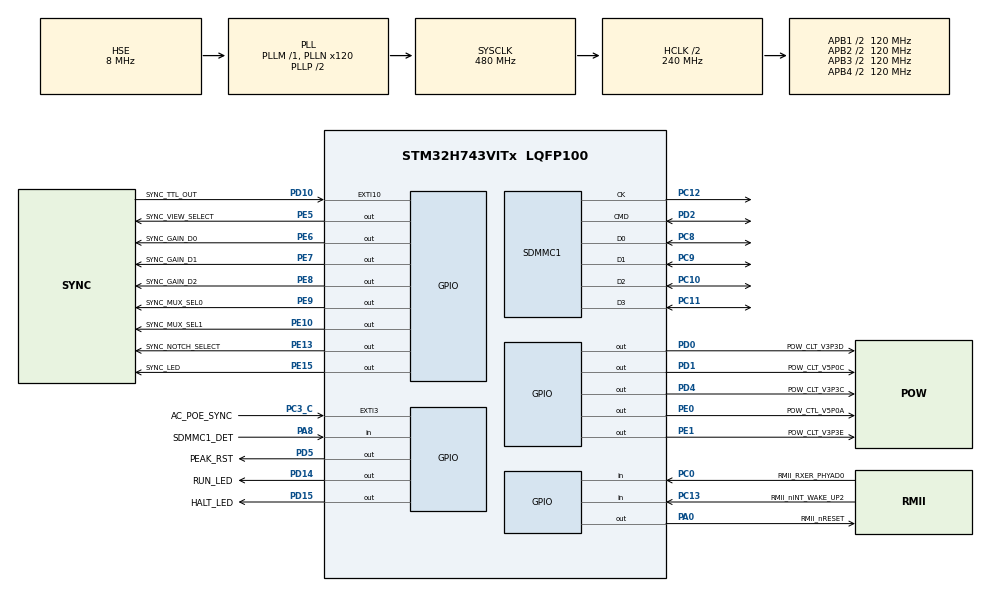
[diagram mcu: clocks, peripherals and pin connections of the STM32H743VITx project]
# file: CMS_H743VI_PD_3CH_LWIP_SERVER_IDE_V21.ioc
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CORTEX_M7.AccessPermission-Cortex_Memory_Protection_Unit_Region0_Settings=MPU_REGION_NO_ACCESS
CORTEX_M7.AccessPermission-Cortex_Memory_Protection_Unit_Region1_Settings=MPU_REGION_FULL_ACCESS
CORTEX_M7.AccessPermission-Cortex_Memory_Protection_Unit_Region2_Settings=MPU_REGION_FULL_ACCESS
CORTEX_M7.AccessPermission_S-Cortex_Memory_Protection_Unit_Region1_Settings_S=MPU_REGION_FULL_ACCESS
CORTEX_M7.AccessPermission_S-Cortex_Memory_Protection_Unit_Region2_Settings_S=MPU_REGION_FULL_ACCESS
CORTEX_M7.AccessPermission_S-Cortex_Memory_Protection_Unit_Region3_Settings_S=MPU_REGION_FULL_ACCESS
CORTEX_M7.AccessPermission_S-Cortex_Memory_Protection_Unit_Region4_Settings_S=MPU_REGION_FULL_ACCESS
CORTEX_M7.AccessPermission_S-Cortex_Memory_Protection_Unit_Region5_Settings_S=MPU_REGION_FULL_ACCESS
CORTEX_M7.BaseAddress-Cortex_Memory_Protection_Unit_Region0_Settings=0x0
CORTEX_M7.BaseAddress-Cortex_Memory_Protection_Unit_Region1_Settings=0x30020000
CORTEX_M7.BaseAddress-Cortex_Memory_Protection_Unit_Region2_Settings=0x30040000
CORTEX_M7.BaseAddress_S-Cortex_Memory_Protection_Unit_Region1_Settings_S=0x30000000
CORTEX_M7.BaseAddress_S-Cortex_Memory_Protection_Unit_Region2_Settings_S=0x30020000
CORTEX_M7.BaseAddress_S-Cortex_Memory_Protection_Unit_Region3_Settings_S=0x30040000
CORTEX_M7.BaseAddress_S-Cortex_Memory_Protection_Unit_Region4_Settings_S=0x38000000
CORTEX_M7.BaseAddress_S-Cortex_Memory_Protection_Unit_Region5_Settings_S=0x24000000
CORTEX_M7.BaseAddress_Spec=0x00000000
CORTEX_M7.CPU_DCache=Enabled
CORTEX_M7.CPU_ICache=Enabled
CORTEX_M7.DisableExec-Cortex_Memory_Protection_Unit_Region0_Settings=MPU_INSTRUCTION_ACCESS_DISABLE
CORTEX_M7.DisableExec-Cortex_Memory_Protection_Unit_Region1_Settings=MPU_INSTRUCTION_ACCESS_DISABLE
CORTEX_M7.DisableExec-Cortex_Memory_Protection_Unit_Region2_Settings=MPU_INSTRUCTION_ACCESS_DISABLE
CORTEX_M7.DisableExec_S-Cortex_Memory_Protection_Unit_Region1_Settings_S=MPU_INSTRUCTION_ACCESS_DISABLE
CORTEX_M7.DisableExec_S-Cortex_Memory_Protection_Unit_Region2_Settings_S=MPU_INSTRUCTION_ACCESS_DISABLE
CORTEX_M7.DisableExec_S-Cortex_Memory_Protection_Unit_Region3_Settings_S=MPU_INSTRUCTION_ACCESS_DISABLE
CORTEX_M7.DisableExec_S-Cortex_Memory_Protection_Unit_Region4_Settings_S=MPU_INSTRUCTION_ACCESS_DISABLE
CORTEX_M7.DisableExec_S-Cortex_Memory_Protection_Unit_Region5_Settings_S=MPU_INSTRUCTION_ACCESS_DISABLE
CORTEX_M7.Enable-Cortex_Memory_Protection_Unit_Region0_Settings=MPU_REGION_ENABLE
CORTEX_M7.Enable-Cortex_Memory_Protection_Unit_Region1_Settings=MPU_REGION_ENABLE
CORTEX_M7.Enable-Cortex_Memory_Protection_Unit_Region2_Settings=MPU_REGION_ENABLE
CORTEX_M7.Enable_S-Cortex_Memory_Protection_Unit_Region1_Settings_S=MPU_REGION_ENABLE
CORTEX_M7.Enable_S-Cortex_Memory_Protection_Unit_Region2_Settings_S=MPU_REGION_ENABLE
CORTEX_M7.Enable_S-Cortex_Memory_Protection_Unit_Region3_Settings_S=MPU_REGION_ENABLE
CORTEX_M7.Enable_S-Cortex_Memory_Protection_Unit_Region4_Settings_S=MPU_REGION_ENABLE
CORTEX_M7.Enable_S-Cortex_Memory_Protection_Unit_Region5_Settings_S=MPU_REGION_ENABLE
CORTEX_M7.IsBufferable-Cortex_Memory_Protection_Unit_Region0_Settings=MPU_ACCESS_NOT_BUFFERABLE
CORTEX_M7.IsBufferable-Cortex_Memory_Protection_Unit_Region1_Settings=MPU_ACCESS_NOT_BUFFERABLE
CORTEX_M7.IsBufferable_S-Cortex_Memory_Protection_Unit_Region2_Settings_S=MPU_ACCESS_NOT_BUFFERABLE
CORTEX_M7.IsBufferable_S-Cortex_Memory_Protection_Unit_Region3_Settings_S=MPU_ACCESS_BUFFERABLE
CORTEX_M7.IsCacheable-Cortex_Memory_Protection_Unit_Region1_Settings=MPU_ACCESS_NOT_CACHEABLE
CORTEX_M7.IsShareable-Cortex_Memory_Protection_Unit_Region0_Settings=MPU_ACCESS_SHAREABLE
CORTEX_M7.IsShareable-Cortex_Memory_Protection_Unit_Region1_Settings=MPU_ACCESS_SHAREABLE
CORTEX_M7.IsShareable-Cortex_Memory_Protection_Unit_Region2_Settings=MPU_ACCESS_SHAREABLE
CORTEX_M7.IsShareable_S-Cortex_Memory_Protection_Unit_Region1_Settings_S=MPU_ACCESS_SHAREABLE
CORTEX_M7.IsShareable_S-Cortex_Memory_Protection_Unit_Region2_Settings_S=MPU_ACCESS_NOT_SHAREABLE
CORTEX_M7.IsShareable_S-Cortex_Memory_Protection_Unit_Region3_Settings_S=MPU_ACCESS_SHAREABLE
CORTEX_M7.IsShareable_S-Cortex_Memory_Protection_Unit_Region4_Settings_S=MPU_ACCESS_SHAREABLE
CORTEX_M7.IsShareable_S-Cortex_Memory_Protection_Unit_Region5_Settings_S=MPU_ACCESS_SHAREABLE
CORTEX_M7.MPU_Control=MPU_PRIVILEGED_DEFAULT
CORTEX_M7.Size-Cortex_Memory_Protection_Unit_Region0_Settings=MPU_REGION_SIZE_4GB
CORTEX_M7.Size-Cortex_Memory_Protection_Unit_Region1_Settings=MPU_REGION_SIZE_32KB
CORTEX_M7.Size-Cortex_Memory_Protection_Unit_Region2_Settings=MPU_REGION_SIZE_512B
CORTEX_M7.Size_S-Cortex_Memory_Protection_Unit_Region1_Settings_S=MPU_REGION_SIZE_64KB
CORTEX_M7.Size_S-Cortex_Memory_Protection_Unit_Region2_Settings_S=MPU_REGION_SIZE_128KB
CORTEX_M7.Size_S-Cortex_Memory_Protection_Unit_Region3_Settings_S=MPU_REGION_SIZE_512B
CORTEX_M7.Size_S-Cortex_Memory_Protection_Unit_Region4_Settings_S=MPU_REGION_SIZE_64KB
CORTEX_M7.Size_S-Cortex_Memory_Protection_Unit_Region5_Settings_S=MPU_REGION_SIZE_512KB
CORTEX_M7.SubRegionDisable-Cortex_Memory_Protection_Unit_Region0_Settings=0x87
CORTEX_M7.TypeExtField-Cortex_Memory_Protection_Unit_Region0_Settings=MPU_TEX_LEVEL0
CORTEX_M7.TypeExtField-Cortex_Memory_Protection_Unit_Region1_Settings=MPU_TEX_LEVEL1
CORTEX_M7.TypeExtField_S-Cortex_Memory_Protection_Unit_Region1_Settings_S=MPU_TEX_LEVEL1
CORTEX_M7.TypeExtField_S-Cortex_Memory_Protection_Unit_Region2_Settings_S=MPU_TEX_LEVEL1
CORTEX_M7.TypeExtField_S-Cortex_Memory_Protection_Unit_Region5_Settings_S=MPU_TEX_LEVEL1
CORTEX_M7.default_mode_Activation=1
FATFS.BSP.number=1
FATFS.USE_DMA_CODE_SD=0
FATFS._FS_EXFAT=1
FATFS._USE_CHMOD=1
FATFS._USE_LFN=2
FATFS0.BSP.STBoard=false
FATFS0.BSP.api=Unknown
FATFS0.BSP.instance=PA8
FATFS0.BSP.ip=GPIO
FATFS0.BSP.mode=Input
FATFS0.BSP.name=Detect_SDIO
FATFS0.BSP.solution=PA8
Mcu.Family=STM32H7
Mcu.Name=STM32H743VITx
Mcu.Package=LQFP100
NVIC.EXTI15_10_IRQn=true\:2\:0\:true\:false\:true\:true\:true\:true
NVIC.EXTI3_IRQn=true\:2\:0\:true\:false\:true\:true\:true\:true
NVIC.PriorityGroup=NVIC_PRIORITYGROUP_4
NVIC.RTC_WKUP_IRQn=true\:0\:0\:true\:false\:true\:true\:true\:true
NVIC.SDMMC1_IRQn=true\:0\:0\:false\:false\:true\:true\:true\:true
NVIC.TIM6_DAC_IRQn=true\:15\:0\:true\:false\:true\:false\:true\:true
NVIC.TimeBase=TIM6_DAC_IRQn
NVIC.TimeBaseIP=TIM6
PA0.GPIO_Label=RMII_nRESET
PA0.GPIO_PuPd=GPIO_PULLUP
PA0.GPIO_Speed=GPIO_SPEED_FREQ_HIGH
PA0.PinState=GPIO_PIN_SET
PA0.Signal=GPIO_Output
PA13\ (JTMS/SWDIO).Mode=Serial_Wire
PA13\ (JTMS/SWDIO).Signal=DEBUG_JTMS-SWDIO
PA14\ (JTCK/SWCLK).Mode=Serial_Wire
PA14\ (JTCK/SWCLK).Signal=DEBUG_JTCK-SWCLK
PA8.GPIO_Label=SDMMC1_DET
PA8.GPIO_PuPd=GPIO_PULLUP
PA8.Signal=GPIO_Input
PB3\ (JTDO/TRACESWO).Signal=DEBUG_JTDO-SWO
PC0.GPIO_Label=RMII_RXER_PHYAD0
PC0.Signal=GPIO_Input
PC10.Mode=SD_4_bits_Wide_bus
PC10.Signal=SDMMC1_D2
PC11.Mode=SD_4_bits_Wide_bus
PC11.Signal=SDMMC1_D3
PC12.Mode=SD_4_bits_Wide_bus
PC12.Signal=SDMMC1_CK
PC13.GPIO_Label=RMII_nINT_WAKE_UP2
PC13.Signal=GPIO_Input
PC14-OSC32_IN\ (OSC32_IN).Mode=LSE-External-Oscillator
PC14-OSC32_IN\ (OSC32_IN).Signal=RCC_OSC32_IN
PC15-OSC32_OUT\ (OSC32_OUT).Mode=LSE-External-Oscillator
PC15-OSC32_OUT\ (OSC32_OUT).Signal=RCC_OSC32_OUT
PC3_C.GPIO_Label=AC_POE_SYNC
PC3_C.GPIO_PuPd=GPIO_PULLUP
PC3_C.Signal=GPXTI3
PC8.Mode=SD_4_bits_Wide_bus
PC8.Signal=SDMMC1_D0
PC9.Mode=SD_4_bits_Wide_bus
PC9.Signal=SDMMC1_D1
PD0.GPIO_Label=POW_CLT_V3P3D
PD0.GPIO_PuPd=GPIO_PULLUP
PD0.GPIO_Speed=GPIO_SPEED_FREQ_HIGH
PD0.PinState=GPIO_PIN_SET
PD0.Signal=GPIO_Output
PD1.GPIO_Label=POW_CLT_V5P0C
PD1.GPIO_PuPd=GPIO_PULLUP
PD1.GPIO_Speed=GPIO_SPEED_FREQ_HIGH
PD1.PinState=GPIO_PIN_RESET
PD1.Signal=GPIO_Output
PD10.GPIO_Label=SYNC_TTL_OUT
PD10.GPIO_PuPd=GPIO_PULLUP
PD10.Signal=GPXTI10
PD14.GPIO_Label=RUN_LED
PD14.GPIO_Speed=GPIO_SPEED_FREQ_HIGH
PD14.Signal=GPIO_Output
PD15.GPIO_Label=HALT_LED
PD15.GPIO_ModeDefaultOutputPP=GPIO_MODE_OUTPUT_OD
PD15.GPIO_PuPd=GPIO_NOPULL
PD15.GPIO_Speed=GPIO_SPEED_FREQ_HIGH
PD15.PinState=GPIO_PIN_SET
PD15.Signal=GPIO_Output
PD2.Mode=SD_4_bits_Wide_bus
PD2.Signal=SDMMC1_CMD
PD4.GPIO_Label=POW_CLT_V3P3C
PD4.GPIO_PuPd=GPIO_PULLUP
PD4.GPIO_Speed=GPIO_SPEED_FREQ_HIGH
PD4.PinState=GPIO_PIN_SET
PD4.Signal=GPIO_Output
PD5.GPIO_Label=PEAK_RST
PD5.GPIO_PuPd=GPIO_PULLDOWN
PD5.GPIO_Speed=GPIO_SPEED_FREQ_VERY_HIGH
PD5.Signal=GPIO_Output
PE0.GPIO_Label=POW_CTL_V5P0A
PE0.GPIO_PuPd=GPIO_PULLUP
PE0.GPIO_Speed=GPIO_SPEED_FREQ_HIGH
PE0.PinState=GPIO_PIN_RESET
PE0.Signal=GPIO_Output
PE1.GPIO_Label=POW_CLT_V3P3E
PE1.GPIO_PuPd=GPIO_PULLUP
PE1.GPIO_Speed=GPIO_SPEED_FREQ_HIGH
PE1.PinState=GPIO_PIN_SET
PE1.Signal=GPIO_Output
PE10.GPIO_Label=SYNC_MUX_SEL1
PE10.GPIO_PuPd=GPIO_PULLUP
PE10.GPIO_Speed=GPIO_SPEED_FREQ_HIGH
PE10.PinState=GPIO_PIN_RESET
PE10.Signal=GPIO_Output
PE13.GPIO_Label=SYNC_NOTCH_SELECT
PE13.GPIO_Speed=GPIO_SPEED_FREQ_HIGH
PE13.PinState=GPIO_PIN_RESET
PE13.Signal=GPIO_Output
PE15.GPIO_Label=SYNC_LED
PE15.GPIO_ModeDefaultOutputPP=GPIO_MODE_OUTPUT_OD
PE15.GPIO_PuPd=GPIO_NOPULL
PE15.GPIO_Speed=GPIO_SPEED_FREQ_HIGH
PE15.PinState=GPIO_PIN_SET
PE15.Signal=GPIO_Output
PE5.GPIO_Label=SYNC_VIEW_SELECT
PE5.GPIO_PuPd=GPIO_PULLUP
PE5.GPIO_Speed=GPIO_SPEED_FREQ_HIGH
PE5.PinState=GPIO_PIN_SET
PE5.Signal=GPIO_Output
PE6.GPIO_Label=SYNC_GAIN_D0
PE6.GPIO_PuPd=GPIO_PULLUP
PE6.GPIO_Speed=GPIO_SPEED_FREQ_HIGH
PE6.PinState=GPIO_PIN_RESET
PE6.Signal=GPIO_Output
PE7.GPIO_Label=SYNC_GAIN_D1
PE7.GPIO_PuPd=GPIO_PULLUP
PE7.GPIO_Speed=GPIO_SPEED_FREQ_HIGH
PE7.PinState=GPIO_PIN_RESET
PE7.Signal=GPIO_Output
PE8.GPIO_Label=SYNC_GAIN_D2
PE8.GPIO_PuPd=GPIO_PULLUP
PE8.GPIO_Speed=GPIO_SPEED_FREQ_HIGH
PE8.PinState=GPIO_PIN_RESET
PE8.Signal=GPIO_Output
PE9.GPIO_Label=SYNC_MUX_SEL0
PE9.GPIO_PuPd=GPIO_PULLUP
PE9.GPIO_Speed=GPIO_SPEED_FREQ_HIGH
PE9.PinState=GPIO_PIN_RESET
PE9.Signal=GPIO_Output
PH0-OSC_IN\ (PH0).Mode=HSE-External-Oscillator
PH0-OSC_IN\ (PH0).Signal=RCC_OSC_IN
PH1-OSC_OUT\ (PH1).Mode=HSE-External-Oscillator
PH1-OSC_OUT\ (PH1).Signal=RCC_OSC_OUT
ProjectManager.HeapSize=0x4000
ProjectManager.StackSize=0x4000
ProjectManager.TargetToolchain=STM32CubeIDE
RCC.ADCFreq_Value=75000000
RCC.APB1Freq_Value=120000000
RCC.APB2Freq_Value=120000000
RCC.APB3Freq_Value=120000000
RCC.APB4Freq_Value=120000000
RCC.CortexFreq_Value=480000000
RCC.D1PPRE=RCC_APB3_DIV2
RCC.D2PPRE1=RCC_APB1_DIV2
RCC.D2PPRE2=RCC_APB2_DIV2
RCC.D3PPRE=RCC_APB4_DIV2
RCC.DIVM1=1
RCC.DIVM2=1
RCC.DIVN1=120
RCC.DIVN2=18
RCC.DIVQ1=5
RCC.HCLKFreq_Value=240000000
RCC.HPRE=RCC_HCLK_DIV2
RCC.HSE_VALUE=8000000
RCC.PLL2FRACN=6144
RCC.PLL3FRACN=0
RCC.PLLFRACN=0
RCC.PLLSourceVirtual=RCC_PLLSOURCE_HSE
RCC.PWR_Regulator_Voltage_Scale=PWR_REGULATOR_VOLTAGE_SCALE0
RCC.ProductRev=revV
RCC.RTCClockSelection=RCC_RTCCLKSOURCE_LSE
RCC.SYSCLKFreq_VALUE=480000000
RCC.SYSCLKSource=RCC_SYSCLKSOURCE_PLLCLK
RCC.SupplySource=PWR_LDO_SUPPLY
RCC.USBFreq_Value=192000000
RTC.Date=17
RTC.Format=RTC_FORMAT_BIN
RTC.Hours=23
RTC.Minutes=59
RTC.Month=RTC_MONTH_DECEMBER
RTC.Seconds=0
RTC.StoreOperation=RTC_STOREOPERATION_SET
RTC.WakeUpClock-WakeUp=RTC_WAKEUPCLOCK_CK_SPRE_16BITS
RTC.WakeUpCounter-WakeUp=10
RTC.WeekDay=RTC_WEEKDAY_WEDNESDAY
RTC.Year=25
SDMMC1.ClockDiv=10
VP_FATFS_VS_SDIO.Mode=SDIO
VP_MEMORYMAP_VS_MEMORYMAP.Mode=CurAppReg
VP_RTC_VS_RTC_Activate.Mode=RTC_Enabled
VP_RTC_VS_RTC_Calendar.Mode=RTC_Calendar
VP_RTC_VS_RTC_WakeUp_intern.Mode=WakeUp
VP_SYS_VS_tim6.Mode=TIM6
board=custom

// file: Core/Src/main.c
/* USER CODE BEGIN Header */
/**
  ******************************************************************************
  * @file           : main.c
  * @brief          : Main program body
  ******************************************************************************
  * @attention
  *
  * Copyright (c) 2025 STMicroelectronics.
  * All rights reserved.
  *
  * This software is licensed under terms that can be found in the LICENSE file
  * in the root directory of this software component.
  * If no LICENSE file comes with this software, it is provided AS-IS.
  *
  ******************************************************************************
  */
/* USER CODE END Header */
#include "main.h"
#include "fatfs.h"

/* USER CODE BEGIN Includes */
#include <stdio.h>
#include <stdlib.h>
#include <string.h>
#include "sdcard.h"
/* USER CODE END Includes */

RTC_HandleTypeDef hrtc;

SD_HandleTypeDef hsd1;

/* USER CODE BEGIN PV */
// size_t _write(int handle, const unsigned char * buffer, size_t size)
// {
//   // ITM 활성화 여부 확인
//   if ((CoreDebug->DEMCR & CoreDebug_DEMCR_TRCENA_Msk) &&
//       (ITM->TCR & ITM_TCR_ITMENA_Msk) &&
//       (ITM->TER & 1UL))
//   {
//     for(int i = 0; i < size; i++) {
//       ITM_SendChar(*buffer++);
//     }
//   }
//   return size;
// }

size_t _write(int handle, const unsigned char * buffer, size_t size)
{
  /* Sending in normal mode */
   for(int i=0; i<size; i++){
      ITM_SendChar(*buffer++);
   }
   return size;
/*
  if(HAL_OK == HAL_UART_Transmit(&huart1, (uint8_t *)buffer, size, 100000))
  {
    return size;
  }
  else
  {
    return -1;
  }
*/
}
/* USER CODE END PV */

void SystemClock_Config(void);
static void MPU_Config(void);
static void MX_GPIO_Init(void);
static void MX_RTC_Init(void);
static void MX_SDMMC1_SD_Init(void);

/* USER CODE BEGIN 0 */
__attribute__((section(".prpd_data_buffer"))) uint16_t prpd_data_buffer[NUM_CH][LINE_MAX][PHASE_MAX];
//test
uint32_t start_time = 0, end_time = 0, elapsed_time = 0;
uint8_t get_prpd_data_complete_flag = 1;
//test
/* USER CODE END 0 */

int main(void)
{

  /* MPU Configuration--------------------------------------------------------*/
  MPU_Config();

  /* Enable the CPU Cache */

  /* Enable I-Cache---------------------------------------------------------*/
  SCB_EnableICache();

  /* Enable D-Cache---------------------------------------------------------*/
  SCB_EnableDCache();

  /* MCU Configuration--------------------------------------------------------*/

  /* Reset of all peripherals, Initializes the Flash interface and the Systick. */
  HAL_Init();

  /* Configure the system clock */
  SystemClock_Config();

  /* USER CODE BEGIN SysInit */
#if 0
  /* USER CODE END SysInit */

  /* Initialize all configured peripherals */
  MX_GPIO_Init();
  MX_RTC_Init();
  MX_SDMMC1_SD_Init();
  MX_FATFS_Init();
  /* USER CODE BEGIN 2 */
#endif
  MX_GPIO_Init();
  POW_CLT_V3P3C_ON();
  POW_CLT_V3P3D_ON();
  POW_CLT_V3P3E_ON();
  POW_CTL_V5P0A_ON();
  POW_CLT_V5P0C_ON();
  HAL_Delay(500);

  MX_FATFS_Init();
  MX_RTC_Init();
  // MX_SDMMC1_SD_Init();
  HAL_PWREx_EnableBatteryCharging(PWR_BATTERY_CHARGING_RESISTOR_1_5);

  RTC_TimeTypeDef sTime = {0};
  RTC_DateTypeDef sDate = {0};

  uint8_t sd_init_done_flg = 0;
  HAL_RTC_GetTime(&hrtc, &sTime, RTC_FORMAT_BIN);
  HAL_RTC_GetDate(&hrtc, &sDate, RTC_FORMAT_BIN);

  /********** FOR TEST ***********/
  //버퍼 난수로 채움
  for(uint8_t i=0; i<NUM_CH; i++)
  {
    for(uint32_t j=0; j<LINE_MAX; j++)
    {
      for(uint32_t k=0; k<PHASE_MAX; k++)
      {
        prpd_data_buffer[i][j][k] = (uint16_t)(rand() % 10000);
      }
    }
  }

  // memset(&prpd_data_buffer[0][0][0], '1', sizeof(uint16_t) * LINE_MAX * PHASE_MAX);
  // memset(&prpd_data_buffer[1][0][0], '2', sizeof(uint16_t) * LINE_MAX * PHASE_MAX);
  // memset(&prpd_data_buffer[2][0][0], '3', sizeof(uint16_t) * LINE_MAX * PHASE_MAX);
  // memset(&prpd_data_buffer[3][0][0], '4', sizeof(uint16_t) * LINE_MAX * PHASE_MAX);

  static char temp_header[64] = {0};
  static uint16_t file_header_temp_buffer[32] = {0};
  /*******************************/
  const uint32_t TARGET_PERIOD = 10000; // 10초 (10000ms)
  /* USER CODE END 2 */

  /* Infinite loop */
  /* USER CODE BEGIN WHILE */
//  HAL_Delay(500);
  /* USER CODE END 2 */

  /* Infinite loop */
  /* USER CODE BEGIN WHILE */
//  HAL_GPIO_WritePin(HALT_LED_GPIO_Port, HALT_LED_Pin, GPIO_PIN_RESET); // Halt LED ON

      //  HAL_RTC_GetTime(&hrtc, &sTime, RTC_FORMAT_BIN);
      // HAL_RTC_GetDate(&hrtc, &sDate, RTC_FORMAT_BIN);
      // make_header(temp_header, &sDate, &sTime);
      // memcpy(file_header_temp_buffer, temp_header, sizeof(temp_header));

  while (1)
  {
    if(get_prpd_data_complete_flag == 0)
    {
      HAL_GPIO_WritePin(RUN_LED_GPIO_Port, RUN_LED_Pin, GPIO_PIN_SET);
      uint32_t delay_time = 0;
      if((end_time-start_time) < TARGET_PERIOD)
      {
          delay_time = TARGET_PERIOD - (end_time-start_time);
      }
      HAL_Delay(delay_time);
      start_time = HAL_GetTick();
    }
    get_prpd_data_complete_flag = 1; // 테스트용 prpd측정완료 플래그 강제 설정
    if(get_prpd_data_complete_flag == 1 || prpd_write_complete_flag == 1) // 측정완료 flag로 변경
    {
      if(SD_flg == 1)
      {
        /********** FOR TEST ***********/
        HAL_RTC_GetTime(&hrtc, &sTime, RTC_FORMAT_BIN);
        HAL_RTC_GetDate(&hrtc, &sDate, RTC_FORMAT_BIN);
        make_header(temp_header, &sDate, &sTime);
        memcpy(file_header_temp_buffer, temp_header, sizeof(temp_header));
        HAL_GPIO_TogglePin(RUN_LED_GPIO_Port, RUN_LED_Pin);
        /*******************************/

        start_saving(file_header_temp_buffer, sizeof(file_header_temp_buffer),prpd_data_buffer, sizeof(prpd_data_buffer));
        end_time = HAL_GetTick();
//        printf("\nData saving time: %lu ms\n", end_time - start_time);
        elapsed_time += (end_time - start_time);
        start_time = end_time;
        // is_new_file를 초기화 함으로써 새파일에 저장할 준비
        if(prpd_write_complete_flag == 1)
        {
//          printf("\nelapsed_time: %lu ms\n", elapsed_time);
          printf("\nFile saved successfully\n\n");
          elapsed_time = 0;
          open_file_times = 0;
        }
      }
      // SD카드 연결이 끊긴 경우 재초기화
      else
      {
        printf("error\n");
        check_sd_card_present();

        // SD카드가 제거된 상태로 MX_SDMMC1_SD_Init()를 하게 되면 ERROR_HANDLER로 빠지므로 SD카드가 삽입된 상태에서 최초 1회 수행
        if(SD_flg == 1 && sd_init_done_flg == 0)
        {
          MX_SDMMC1_SD_Init();
          sd_init_done_flg = 1;
        }
        elapsed_time = 0;
        start_time = HAL_GetTick();
      }
    }
    /* USER CODE END WHILE */

  }
}

void SystemClock_Config(void)
{
  RCC_OscInitTypeDef RCC_OscInitStruct = {0};
  RCC_ClkInitTypeDef RCC_ClkInitStruct = {0};

  /** Supply configuration update enable
  */
  HAL_PWREx_ConfigSupply(PWR_LDO_SUPPLY);

  /** Configure the main internal regulator output voltage
  */
  __HAL_PWR_VOLTAGESCALING_CONFIG(PWR_REGULATOR_VOLTAGE_SCALE0);

  while(!__HAL_PWR_GET_FLAG(PWR_FLAG_VOSRDY)) {}

  /** Configure LSE Drive Capability
  */
  HAL_PWR_EnableBkUpAccess();
  __HAL_RCC_LSEDRIVE_CONFIG(RCC_LSEDRIVE_LOW);

  /** Initializes the RCC Oscillators according to the specified parameters
  * in the RCC_OscInitTypeDef structure.
  */
  RCC_OscInitStruct.OscillatorType = RCC_OSCILLATORTYPE_HSE|RCC_OSCILLATORTYPE_LSE;
  RCC_OscInitStruct.HSEState = RCC_HSE_ON;
  RCC_OscInitStruct.LSEState = RCC_LSE_ON;
  RCC_OscInitStruct.PLL.PLLState = RCC_PLL_ON;
  RCC_OscInitStruct.PLL.PLLSource = RCC_PLLSOURCE_HSE;
  RCC_OscInitStruct.PLL.PLLM = 1;
  RCC_OscInitStruct.PLL.PLLN = 120;
  RCC_OscInitStruct.PLL.PLLP = 2;
  RCC_OscInitStruct.PLL.PLLQ = 5;
  RCC_OscInitStruct.PLL.PLLR = 2;
  RCC_OscInitStruct.PLL.PLLRGE = RCC_PLL1VCIRANGE_3;
  RCC_OscInitStruct.PLL.PLLVCOSEL = RCC_PLL1VCOWIDE;
  RCC_OscInitStruct.PLL.PLLFRACN = 0;
  if (HAL_RCC_OscConfig(&RCC_OscInitStruct) != HAL_OK)
  {
    Error_Handler();
  }

  /** Initializes the CPU, AHB and APB buses clocks
  */
  RCC_ClkInitStruct.ClockType = RCC_CLOCKTYPE_HCLK|RCC_CLOCKTYPE_SYSCLK
                              |RCC_CLOCKTYPE_PCLK1|RCC_CLOCKTYPE_PCLK2
                              |RCC_CLOCKTYPE_D3PCLK1|RCC_CLOCKTYPE_D1PCLK1;
  RCC_ClkInitStruct.SYSCLKSource = RCC_SYSCLKSOURCE_PLLCLK;
  RCC_ClkInitStruct.SYSCLKDivider = RCC_SYSCLK_DIV1;
  RCC_ClkInitStruct.AHBCLKDivider = RCC_HCLK_DIV2;
  RCC_ClkInitStruct.APB3CLKDivider = RCC_APB3_DIV2;
  RCC_ClkInitStruct.APB1CLKDivider = RCC_APB1_DIV2;
  RCC_ClkInitStruct.APB2CLKDivider = RCC_APB2_DIV2;
  RCC_ClkInitStruct.APB4CLKDivider = RCC_APB4_DIV2;

  if (HAL_RCC_ClockConfig(&RCC_ClkInitStruct, FLASH_LATENCY_4) != HAL_OK)
  {
    Error_Handler();
  }
}

static void MX_RTC_Init(void)
{

  RTC_TimeTypeDef sTime = {0};
  RTC_DateTypeDef sDate = {0};

  /** Initialize RTC Only
  */
  hrtc.Instance = RTC;
  hrtc.Init.HourFormat = RTC_HOURFORMAT_24;
  hrtc.Init.AsynchPrediv = 127;
  hrtc.Init.SynchPrediv = 255;
  hrtc.Init.OutPut = RTC_OUTPUT_DISABLE;
  hrtc.Init.OutPutPolarity = RTC_OUTPUT_POLARITY_HIGH;
  hrtc.Init.OutPutType = RTC_OUTPUT_TYPE_OPENDRAIN;
  hrtc.Init.OutPutRemap = RTC_OUTPUT_REMAP_NONE;
  if (HAL_RTC_Init(&hrtc) != HAL_OK)
  {
    Error_Handler();
  }

  /* USER CODE BEGIN Check_RTC_BKUP */
  HAL_RTC_GetTime(&hrtc, &sTime, RTC_FORMAT_BIN);
  HAL_RTC_GetDate(&hrtc, &sDate, RTC_FORMAT_BIN);

  if (sDate.Year < 25)
  {
  /* USER CODE END Check_RTC_BKUP */

  /** Initialize RTC and set the Time and Date
  */
  sTime.Hours = 23;
  sTime.Minutes = 59;
  sTime.Seconds = 0;
  sTime.DayLightSaving = RTC_DAYLIGHTSAVING_NONE;
  sTime.StoreOperation = RTC_STOREOPERATION_SET;
  if (HAL_RTC_SetTime(&hrtc, &sTime, RTC_FORMAT_BIN) != HAL_OK)
  {
    Error_Handler();
  }
  sDate.WeekDay = RTC_WEEKDAY_WEDNESDAY;
  sDate.Month = RTC_MONTH_DECEMBER;
  sDate.Date = 17;
  sDate.Year = 25;

  if (HAL_RTC_SetDate(&hrtc, &sDate, RTC_FORMAT_BIN) != HAL_OK)
  {
    Error_Handler();
  }

  /** Enable the WakeUp
  */
  if (HAL_RTCEx_SetWakeUpTimer_IT(&hrtc, 10, RTC_WAKEUPCLOCK_CK_SPRE_16BITS) != HAL_OK)
  {
    Error_Handler();
  }
  }

}

static void MX_SDMMC1_SD_Init(void)
{

  hsd1.Instance = SDMMC1;
  hsd1.Init.ClockEdge = SDMMC_CLOCK_EDGE_RISING;
  hsd1.Init.ClockPowerSave = SDMMC_CLOCK_POWER_SAVE_DISABLE;
  hsd1.Init.BusWide = SDMMC_BUS_WIDE_4B;
  hsd1.Init.HardwareFlowControl = SDMMC_HARDWARE_FLOW_CONTROL_DISABLE;
  hsd1.Init.ClockDiv = 10;
  if (HAL_SD_Init(&hsd1) != HAL_OK)
  {
    Error_Handler();
  }

}

static void MX_GPIO_Init(void)
{
  GPIO_InitTypeDef GPIO_InitStruct = {0};

  /* GPIO Ports Clock Enable */
  __HAL_RCC_GPIOE_CLK_ENABLE();
  __HAL_RCC_GPIOC_CLK_ENABLE();
  __HAL_RCC_GPIOH_CLK_ENABLE();
  __HAL_RCC_GPIOA_CLK_ENABLE();
  __HAL_RCC_GPIOD_CLK_ENABLE();
  __HAL_RCC_GPIOB_CLK_ENABLE();

  /*Configure GPIO pin Output Level */
  HAL_GPIO_WritePin(GPIOE, SYNC_VIEW_SELECT_Pin|SYNC_LED_Pin|POW_CLT_V3P3E_Pin, GPIO_PIN_SET);

  /*Configure GPIO pin Output Level */
  HAL_GPIO_WritePin(GPIOE, SYNC_GAIN_D0_Pin|SYNC_GAIN_D1_Pin|SYNC_GAIN_D2_Pin|SYNC_MUX_SEL0_Pin
                          |SYNC_MUX_SEL1_Pin|SYNC_NOTCH_SELECT_Pin|POW_CTL_V5P0A_Pin, GPIO_PIN_RESET);

  /*Configure GPIO pin Output Level */
  HAL_GPIO_WritePin(RMII_nRESET_GPIO_Port, RMII_nRESET_Pin, GPIO_PIN_SET);

  /*Configure GPIO pin Output Level */
  HAL_GPIO_WritePin(GPIOD, RUN_LED_Pin|POW_CLT_V5P0C_Pin|PEAK_RST_Pin, GPIO_PIN_RESET);

  /*Configure GPIO pin Output Level */
  HAL_GPIO_WritePin(GPIOD, HALT_LED_Pin|POW_CLT_V3P3D_Pin|POW_CLT_V3P3C_Pin, GPIO_PIN_SET);

  /*Configure GPIO pins : SYNC_VIEW_SELECT_Pin SYNC_GAIN_D0_Pin SYNC_GAIN_D1_Pin SYNC_GAIN_D2_Pin
                           SYNC_MUX_SEL0_Pin SYNC_MUX_SEL1_Pin POW_CTL_V5P0A_Pin POW_CLT_V3P3E_Pin */
  GPIO_InitStruct.Pin = SYNC_VIEW_SELECT_Pin|SYNC_GAIN_D0_Pin|SYNC_GAIN_D1_Pin|SYNC_GAIN_D2_Pin
                          |SYNC_MUX_SEL0_Pin|SYNC_MUX_SEL1_Pin|POW_CTL_V5P0A_Pin|POW_CLT_V3P3E_Pin;
  GPIO_InitStruct.Mode = GPIO_MODE_OUTPUT_PP;
  GPIO_InitStruct.Pull = GPIO_PULLUP;
  GPIO_InitStruct.Speed = GPIO_SPEED_FREQ_HIGH;
  HAL_GPIO_Init(GPIOE, &GPIO_InitStruct);

  /*Configure GPIO pins : RMII_nINT_WAKE_UP2_Pin RMII_RXER_PHYAD0_Pin */
  GPIO_InitStruct.Pin = RMII_nINT_WAKE_UP2_Pin|RMII_RXER_PHYAD0_Pin;
  GPIO_InitStruct.Mode = GPIO_MODE_INPUT;
  GPIO_InitStruct.Pull = GPIO_NOPULL;
  HAL_GPIO_Init(GPIOC, &GPIO_InitStruct);

  /*Configure GPIO pin : AC_POE_SYNC_Pin */
  GPIO_InitStruct.Pin = AC_POE_SYNC_Pin;
  GPIO_InitStruct.Mode = GPIO_MODE_IT_RISING;
  GPIO_InitStruct.Pull = GPIO_PULLUP;
  HAL_GPIO_Init(AC_POE_SYNC_GPIO_Port, &GPIO_InitStruct);

  /*Configure GPIO pin : RMII_nRESET_Pin */
  GPIO_InitStruct.Pin = RMII_nRESET_Pin;
  GPIO_InitStruct.Mode = GPIO_MODE_OUTPUT_PP;
  GPIO_InitStruct.Pull = GPIO_PULLUP;
  GPIO_InitStruct.Speed = GPIO_SPEED_FREQ_HIGH;
  HAL_GPIO_Init(RMII_nRESET_GPIO_Port, &GPIO_InitStruct);

  /*Configure GPIO pin : SYNC_NOTCH_SELECT_Pin */
  GPIO_InitStruct.Pin = SYNC_NOTCH_SELECT_Pin;
  GPIO_InitStruct.Mode = GPIO_MODE_OUTPUT_PP;
  GPIO_InitStruct.Pull = GPIO_NOPULL;
  GPIO_InitStruct.Speed = GPIO_SPEED_FREQ_HIGH;
  HAL_GPIO_Init(SYNC_NOTCH_SELECT_GPIO_Port, &GPIO_InitStruct);

  /*Configure GPIO pin : SYNC_LED_Pin */
  GPIO_InitStruct.Pin = SYNC_LED_Pin;
  GPIO_InitStruct.Mode = GPIO_MODE_OUTPUT_OD;
  GPIO_InitStruct.Pull = GPIO_NOPULL;
  GPIO_InitStruct.Speed = GPIO_SPEED_FREQ_HIGH;
  HAL_GPIO_Init(SYNC_LED_GPIO_Port, &GPIO_InitStruct);

  /*Configure GPIO pin : SYNC_TTL_OUT_Pin */
  GPIO_InitStruct.Pin = SYNC_TTL_OUT_Pin;
  GPIO_InitStruct.Mode = GPIO_MODE_IT_RISING;
  GPIO_InitStruct.Pull = GPIO_PULLUP;
  HAL_GPIO_Init(SYNC_TTL_OUT_GPIO_Port, &GPIO_InitStruct);

  /*Configure GPIO pin : RUN_LED_Pin */
  GPIO_InitStruct.Pin = RUN_LED_Pin;
  GPIO_InitStruct.Mode = GPIO_MODE_OUTPUT_PP;
  GPIO_InitStruct.Pull = GPIO_NOPULL;
  GPIO_InitStruct.Speed = GPIO_SPEED_FREQ_HIGH;
  HAL_GPIO_Init(RUN_LED_GPIO_Port, &GPIO_InitStruct);

  /*Configure GPIO pin : HALT_LED_Pin */
  GPIO_InitStruct.Pin = HALT_LED_Pin;
  GPIO_InitStruct.Mode = GPIO_MODE_OUTPUT_OD;
  GPIO_InitStruct.Pull = GPIO_NOPULL;
  GPIO_InitStruct.Speed = GPIO_SPEED_FREQ_HIGH;
  HAL_GPIO_Init(HALT_LED_GPIO_Port, &GPIO_InitStruct);

  /*Configure GPIO pin : SDMMC1_DET_Pin */
  GPIO_InitStruct.Pin = SDMMC1_DET_Pin;
  GPIO_InitStruct.Mode = GPIO_MODE_INPUT;
  GPIO_InitStruct.Pull = GPIO_PULLUP;
  HAL_GPIO_Init(SDMMC1_DET_GPIO_Port, &GPIO_InitStruct);

  /*Configure GPIO pins : POW_CLT_V3P3D_Pin POW_CLT_V5P0C_Pin POW_CLT_V3P3C_Pin */
  GPIO_InitStruct.Pin = POW_CLT_V3P3D_Pin|POW_CLT_V5P0C_Pin|POW_CLT_V3P3C_Pin;
  GPIO_InitStruct.Mode = GPIO_MODE_OUTPUT_PP;
  GPIO_InitStruct.Pull = GPIO_PULLUP;
  GPIO_InitStruct.Speed = GPIO_SPEED_FREQ_HIGH;
  HAL_GPIO_Init(GPIOD, &GPIO_InitStruct);

  /*Configure GPIO pin : PEAK_RST_Pin */
  GPIO_InitStruct.Pin = PEAK_RST_Pin;
  GPIO_InitStruct.Mode = GPIO_MODE_OUTPUT_PP;
  GPIO_InitStruct.Pull = GPIO_PULLDOWN;
  GPIO_InitStruct.Speed = GPIO_SPEED_FREQ_VERY_HIGH;
  HAL_GPIO_Init(PEAK_RST_GPIO_Port, &GPIO_InitStruct);

  /*AnalogSwitch Config */
  HAL_SYSCFG_AnalogSwitchConfig(SYSCFG_SWITCH_PA0, SYSCFG_SWITCH_PA0_CLOSE);

  /* EXTI interrupt init*/
  HAL_NVIC_SetPriority(AC_POE_SYNC_EXTI_IRQn, 2, 0);
  HAL_NVIC_EnableIRQ(AC_POE_SYNC_EXTI_IRQn);

  HAL_NVIC_SetPriority(SYNC_TTL_OUT_EXTI_IRQn, 2, 0);
  HAL_NVIC_EnableIRQ(SYNC_TTL_OUT_EXTI_IRQn);

}

/* USER CODE BEGIN 4 */
// sprintf 없이 헤더 생성
void make_header(char *buf, RTC_DateTypeDef *date, RTC_TimeTypeDef *time)
{
  buf[0] = '$'; buf[1] = '$'; buf[2] = '$';
  buf[3] = '$'; buf[4] = '$'; buf[5] = '$';

  buf[6] = '0' + (date->Year / 10);
  buf[7] = '0' + (date->Year % 10);
  buf[8] = '0' + (date->Month / 10);
  buf[9] = '0' + (date->Month % 10);
  buf[10] = '0' + (date->Date / 10);
  buf[11] = '0' + (date->Date % 10);
  buf[12] = '0' + (time->Hours / 10);
  buf[13] = '0' + (time->Hours % 10);
  buf[14] = '0' + (time->Minutes / 10);
  buf[15] = '0' + (time->Minutes % 10);
  buf[16] = '0' + (time->Seconds / 10);
  buf[17] = '0' + (time->Seconds % 10);

  memcpy(&buf[18], "1234567890", 10);
  buf[28] = '\0';
}
/* USER CODE END 4 */

 /* MPU Configuration */

void MPU_Config(void)
{
  MPU_Region_InitTypeDef MPU_InitStruct = {0};

  /* Disables the MPU */
  HAL_MPU_Disable();

  /** Initializes and configures the Region and the memory to be protected
  */
  MPU_InitStruct.Enable = MPU_REGION_ENABLE;
  MPU_InitStruct.Number = MPU_REGION_NUMBER0;
  MPU_InitStruct.BaseAddress = 0x00000000;
  MPU_InitStruct.Size = MPU_REGION_SIZE_4GB;
  MPU_InitStruct.SubRegionDisable = 0x87;
  MPU_InitStruct.TypeExtField = MPU_TEX_LEVEL0;
  MPU_InitStruct.AccessPermission = MPU_REGION_NO_ACCESS;
  MPU_InitStruct.DisableExec = MPU_INSTRUCTION_ACCESS_DISABLE;
  MPU_InitStruct.IsShareable = MPU_ACCESS_SHAREABLE;
  MPU_InitStruct.IsCacheable = MPU_ACCESS_NOT_CACHEABLE;
  MPU_InitStruct.IsBufferable = MPU_ACCESS_NOT_BUFFERABLE;

  HAL_MPU_ConfigRegion(&MPU_InitStruct);

  /** Initializes and configures the Region and the memory to be protected
  */
  MPU_InitStruct.Number = MPU_REGION_NUMBER1;
  MPU_InitStruct.BaseAddress = 0x30000000;
  MPU_InitStruct.Size = MPU_REGION_SIZE_64KB;
  MPU_InitStruct.SubRegionDisable = 0x0;
  MPU_InitStruct.TypeExtField = MPU_TEX_LEVEL1;
  MPU_InitStruct.AccessPermission = MPU_REGION_FULL_ACCESS;

  HAL_MPU_ConfigRegion(&MPU_InitStruct);

  /** Initializes and configures the Region and the memory to be protected
  */
  MPU_InitStruct.Number = MPU_REGION_NUMBER2;
  MPU_InitStruct.BaseAddress = 0x30020000;
  MPU_InitStruct.Size = MPU_REGION_SIZE_128KB;
  MPU_InitStruct.IsShareable = MPU_ACCESS_NOT_SHAREABLE;

  HAL_MPU_ConfigRegion(&MPU_InitStruct);

  /** Initializes and configures the Region and the memory to be protected
  */
  MPU_InitStruct.Number = MPU_REGION_NUMBER3;
  MPU_InitStruct.BaseAddress = 0x30040000;
  MPU_InitStruct.Size = MPU_REGION_SIZE_512B;
  MPU_InitStruct.TypeExtField = MPU_TEX_LEVEL0;
  MPU_InitStruct.IsShareable = MPU_ACCESS_SHAREABLE;
  MPU_InitStruct.IsBufferable = MPU_ACCESS_BUFFERABLE;

  HAL_MPU_ConfigRegion(&MPU_InitStruct);

  /** Initializes and configures the Region and the memory to be protected
  */
  MPU_InitStruct.Number = MPU_REGION_NUMBER4;
  MPU_InitStruct.BaseAddress = 0x38000000;
  MPU_InitStruct.Size = MPU_REGION_SIZE_64KB;
  MPU_InitStruct.IsBufferable = MPU_ACCESS_NOT_BUFFERABLE;

  HAL_MPU_ConfigRegion(&MPU_InitStruct);

  /** Initializes and configures the Region and the memory to be protected
  */
  MPU_InitStruct.Number = MPU_REGION_NUMBER5;
  MPU_InitStruct.BaseAddress = 0x24000000;
  MPU_InitStruct.Size = MPU_REGION_SIZE_512KB;
  MPU_InitStruct.TypeExtField = MPU_TEX_LEVEL1;

  HAL_MPU_ConfigRegion(&MPU_InitStruct);
  /* Enables the MPU */
  HAL_MPU_Enable(MPU_PRIVILEGED_DEFAULT);

}

void HAL_TIM_PeriodElapsedCallback(TIM_HandleTypeDef *htim)
{
  if (htim->Instance == TIM6)
  {
    HAL_IncTick();
  }
}

void Error_Handler(void)
{
  /* USER CODE BEGIN Error_Handler_Debug */
  /* User can add his own implementation to report the HAL error return state */
  // 전역 interrupt 비활성화
  __disable_irq();

  while (1)
  {
     printf("Error Handler\r\n");
     HAL_Delay(500);
  }
  /* USER CODE END Error_Handler_Debug */
}
